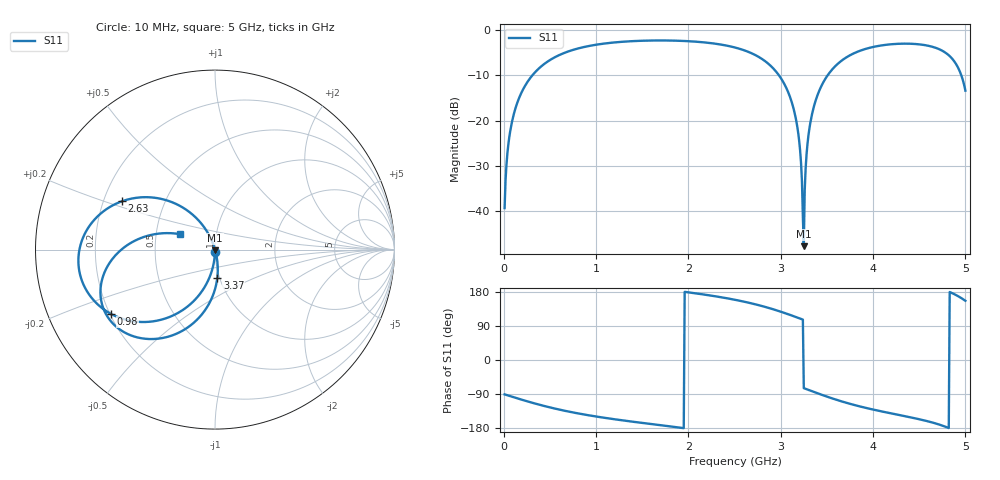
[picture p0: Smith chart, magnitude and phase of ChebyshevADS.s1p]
! Created Thu Dec 17 00:04:38 2020
# ghz S ri R 50
! 1 Port Network Data from SP1.SP block
! freq  reS11  imS11
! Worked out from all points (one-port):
!   500 points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, 10 MHz to 5 GHz, reference 50 ohm
!   lowest |S11| = -47.7 dB at 3.25 GHz (marker M1), VSWR 1.01, Z = 50.1 - j0.399 ohm
!   |S11| at or under -10 dB: start of sweep to 310.9 MHz; 2.981 GHz to 3.508 GHz (527.5 MHz wide, 16.3 % of centre); 4.956 GHz to end of sweep
!   S11 on the Smith chart (normalised r, x): 10 MHz: 1.00, -0.02; 980 MHz: 0.20, -0.27; 2.63 GHz: 0.28, +0.23; 3.37 GHz: 0.98, -0.31; 5 GHz: 0.66, +0.12
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0.01  -0.000145 -0.0109
0.04  -0.00232 -0.0433
0.07  -0.00707 -0.0754
0.17  -0.0403 -0.1764
0.36  -0.1587 -0.3217
0.64  -0.3738 -0.4027
0.98  -0.5799 -0.358
1.26  -0.6853 -0.2714
1.89  -0.7594 -0.0274
2.51  -0.5943 0.2322
2.63  -0.5175 0.2695
2.94  -0.2398 0.2642
3.13  -0.0657 0.1317
3.19  -0.0261 0.0676
3.21  -0.0156 0.0444
3.23  -0.00647 0.0205
3.25  0.00112 -0.00398
3.26  0.00433 -0.0164
3.28  0.00955 -0.0415
3.3  0.0132 -0.0669
3.37  0.013 -0.1558
3.52  -0.0473 -0.3252
3.76  -0.2357 -0.4771
4.04  -0.4503 -0.4843
4.38  -0.611 -0.3527
4.8  -0.5459 -0.0227
4.91  -0.3963 0.0705
5  -0.196 0.0862
